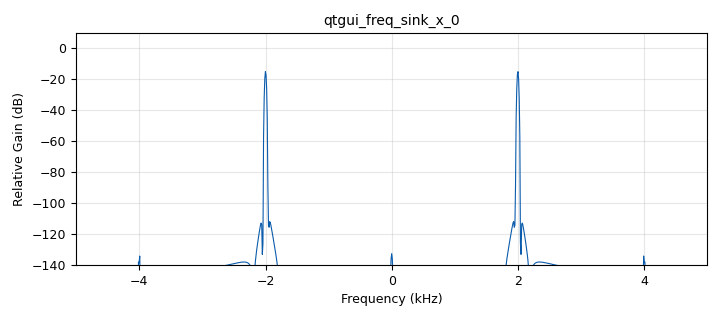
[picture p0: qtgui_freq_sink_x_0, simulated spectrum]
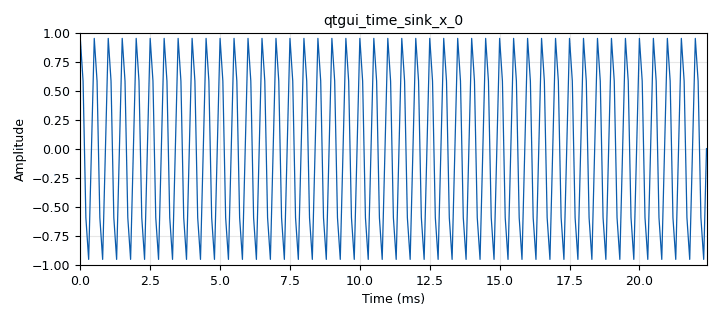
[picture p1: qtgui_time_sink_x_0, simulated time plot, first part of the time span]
options:
  parameters:
    generate_options: qt_gui
    id: ece531_opt
    output_language: python
    title: ece531_lab1a
  states: {}

blocks:
- name: freq
  id: variable
  parameters:
    value: '2000'
  states: {}
- name: frequency
  id: variable_qtgui_range
  parameters:
    min_len: '100'
    orient: Qt.Horizontal
    start: '2000'
    step: '200'
    stop: '15000'
    value: '2000'
  states: {}
- name: samp_rate
  id: variable_qtgui_range
  parameters:
    orient: Qt.Horizontal
    start: '1000'
    step: '200'
    stop: '40000'
    value: '10000'
  states: {}
- name: analog_sig_source_x_0
  id: analog_sig_source_x
  parameters:
    amp: '1'
    freq: frequency
    offset: '0'
    phase: '0'
    samp_rate: samp_rate
    type: float
    waveform: analog.GR_SIN_WAVE
  states: {}
- name: blocks_throttle_0
  id: blocks_throttle
  parameters:
    samples_per_second: '32000'
    type: float
  states: {}
- name: qtgui_freq_sink_x_0
  id: qtgui_freq_sink_x
  parameters:
    bw: samp_rate
    fc: '0'
    fftsize: '1024'
    gui_hint: tabs@1
    type: float
    wintype: firdes.WIN_BLACKMAN_hARRIS
  states: {}
- name: qtgui_time_sink_x_0
  id: qtgui_time_sink_x
  parameters:
    gui_hint: tabs@0
    size: '1024'
    srate: samp_rate
    type: float
  states: {}
- name: tabs
  id: qtgui_tab_widget
  parameters:
    label0: Time
    label1: Frequency
    num_tabs: '2'
  states: {}

connections:
- [analog_sig_source_x_0, '0', blocks_throttle_0, '0']
- [blocks_throttle_0, '0', qtgui_freq_sink_x_0, '0']
- [blocks_throttle_0, '0', qtgui_time_sink_x_0, '0']

metadata:
  file_format: 1
